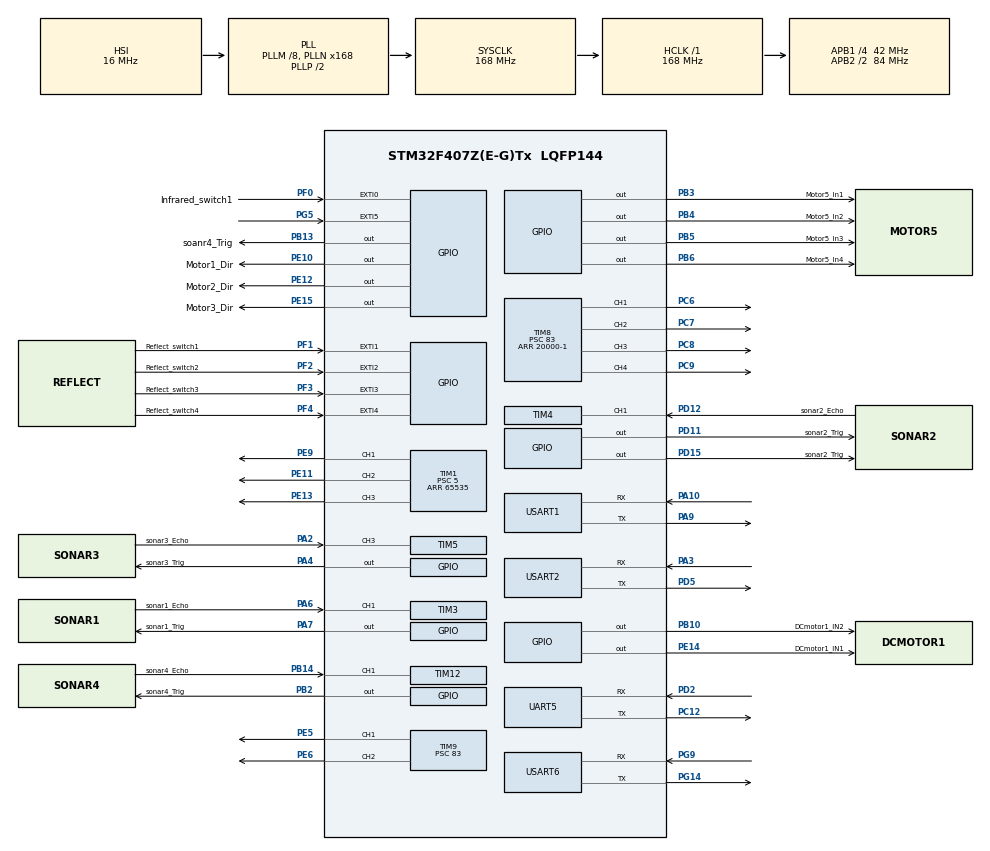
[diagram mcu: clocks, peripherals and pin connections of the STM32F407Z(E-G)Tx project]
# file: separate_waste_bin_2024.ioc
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Dma.Request0=USART6_RX
Dma.Request1=USART6_TX
Dma.Request2=UART5_RX
Dma.Request3=UART5_TX
Dma.Request4=USART1_RX
Dma.Request5=USART1_TX
Dma.Request6=USART2_RX
Dma.Request7=USART2_TX
Dma.UART5_RX.2.Direction=DMA_PERIPH_TO_MEMORY
Dma.UART5_RX.2.FIFOMode=DMA_FIFOMODE_DISABLE
Dma.UART5_RX.2.Instance=DMA1_Stream0
Dma.UART5_RX.2.MemDataAlignment=DMA_MDATAALIGN_BYTE
Dma.UART5_RX.2.MemInc=DMA_MINC_ENABLE
Dma.UART5_RX.2.Mode=DMA_CIRCULAR
Dma.UART5_RX.2.PeriphDataAlignment=DMA_PDATAALIGN_BYTE
Dma.UART5_RX.2.PeriphInc=DMA_PINC_DISABLE
Dma.UART5_RX.2.Priority=DMA_PRIORITY_LOW
Dma.UART5_TX.3.Direction=DMA_MEMORY_TO_PERIPH
Dma.UART5_TX.3.FIFOMode=DMA_FIFOMODE_DISABLE
Dma.UART5_TX.3.Instance=DMA1_Stream7
Dma.UART5_TX.3.MemDataAlignment=DMA_MDATAALIGN_BYTE
Dma.UART5_TX.3.MemInc=DMA_MINC_ENABLE
Dma.UART5_TX.3.Mode=DMA_NORMAL
Dma.UART5_TX.3.PeriphDataAlignment=DMA_PDATAALIGN_BYTE
Dma.UART5_TX.3.PeriphInc=DMA_PINC_DISABLE
Dma.UART5_TX.3.Priority=DMA_PRIORITY_LOW
Dma.USART1_RX.4.Direction=DMA_PERIPH_TO_MEMORY
Dma.USART1_RX.4.FIFOMode=DMA_FIFOMODE_DISABLE
Dma.USART1_RX.4.Instance=DMA2_Stream2
Dma.USART1_RX.4.MemDataAlignment=DMA_MDATAALIGN_BYTE
Dma.USART1_RX.4.MemInc=DMA_MINC_ENABLE
Dma.USART1_RX.4.Mode=DMA_CIRCULAR
Dma.USART1_RX.4.PeriphDataAlignment=DMA_PDATAALIGN_BYTE
Dma.USART1_RX.4.PeriphInc=DMA_PINC_DISABLE
Dma.USART1_RX.4.Priority=DMA_PRIORITY_LOW
Dma.USART1_TX.5.Direction=DMA_MEMORY_TO_PERIPH
Dma.USART1_TX.5.FIFOMode=DMA_FIFOMODE_DISABLE
Dma.USART1_TX.5.Instance=DMA2_Stream7
Dma.USART1_TX.5.MemDataAlignment=DMA_MDATAALIGN_BYTE
Dma.USART1_TX.5.MemInc=DMA_MINC_ENABLE
Dma.USART1_TX.5.Mode=DMA_NORMAL
Dma.USART1_TX.5.PeriphDataAlignment=DMA_PDATAALIGN_BYTE
Dma.USART1_TX.5.PeriphInc=DMA_PINC_DISABLE
Dma.USART1_TX.5.Priority=DMA_PRIORITY_LOW
Dma.USART2_RX.6.Direction=DMA_PERIPH_TO_MEMORY
Dma.USART2_RX.6.FIFOMode=DMA_FIFOMODE_DISABLE
Dma.USART2_RX.6.Instance=DMA1_Stream5
Dma.USART2_RX.6.MemDataAlignment=DMA_MDATAALIGN_BYTE
Dma.USART2_RX.6.MemInc=DMA_MINC_ENABLE
Dma.USART2_RX.6.Mode=DMA_CIRCULAR
Dma.USART2_RX.6.PeriphDataAlignment=DMA_PDATAALIGN_BYTE
Dma.USART2_RX.6.PeriphInc=DMA_PINC_DISABLE
Dma.USART2_RX.6.Priority=DMA_PRIORITY_LOW
Dma.USART2_TX.7.Direction=DMA_MEMORY_TO_PERIPH
Dma.USART2_TX.7.FIFOMode=DMA_FIFOMODE_DISABLE
Dma.USART2_TX.7.Instance=DMA1_Stream6
Dma.USART2_TX.7.MemDataAlignment=DMA_MDATAALIGN_BYTE
Dma.USART2_TX.7.MemInc=DMA_MINC_ENABLE
Dma.USART2_TX.7.Mode=DMA_NORMAL
Dma.USART2_TX.7.PeriphDataAlignment=DMA_PDATAALIGN_BYTE
Dma.USART2_TX.7.PeriphInc=DMA_PINC_DISABLE
Dma.USART2_TX.7.Priority=DMA_PRIORITY_LOW
Dma.USART6_RX.0.Direction=DMA_PERIPH_TO_MEMORY
Dma.USART6_RX.0.FIFOMode=DMA_FIFOMODE_DISABLE
Dma.USART6_RX.0.Instance=DMA2_Stream1
Dma.USART6_RX.0.MemDataAlignment=DMA_MDATAALIGN_BYTE
Dma.USART6_RX.0.MemInc=DMA_MINC_ENABLE
Dma.USART6_RX.0.Mode=DMA_CIRCULAR
Dma.USART6_RX.0.PeriphDataAlignment=DMA_PDATAALIGN_BYTE
Dma.USART6_RX.0.PeriphInc=DMA_PINC_DISABLE
Dma.USART6_RX.0.Priority=DMA_PRIORITY_LOW
Dma.USART6_TX.1.Direction=DMA_MEMORY_TO_PERIPH
Dma.USART6_TX.1.FIFOMode=DMA_FIFOMODE_DISABLE
Dma.USART6_TX.1.Instance=DMA2_Stream6
Dma.USART6_TX.1.MemDataAlignment=DMA_MDATAALIGN_BYTE
Dma.USART6_TX.1.MemInc=DMA_MINC_ENABLE
Dma.USART6_TX.1.Mode=DMA_NORMAL
Dma.USART6_TX.1.PeriphDataAlignment=DMA_PDATAALIGN_BYTE
Dma.USART6_TX.1.PeriphInc=DMA_PINC_DISABLE
Dma.USART6_TX.1.Priority=DMA_PRIORITY_LOW
FREERTOS.Tasks01=defaultTask,0,128,StartDefaultTask,Default,NULL,Dynamic,NULL,NULL
FREERTOS.configENABLE_FPU=1
FREERTOS.configMAX_PRIORITIES=15
FREERTOS.configUSE_RECURSIVE_MUTEXES=1
FREERTOS.configUSE_TIMERS=0
Mcu.Family=STM32F4
Mcu.Name=STM32F407Z(E-G)Tx
Mcu.Package=LQFP144
NVIC.DMA1_Stream0_IRQn=true\:5\:0\:false\:false\:true\:true\:false\:true\:true
NVIC.DMA1_Stream5_IRQn=true\:5\:0\:false\:false\:true\:true\:false\:true\:true
NVIC.DMA1_Stream6_IRQn=true\:5\:0\:false\:false\:true\:true\:false\:true\:true
NVIC.DMA1_Stream7_IRQn=true\:5\:0\:false\:false\:true\:true\:false\:true\:true
NVIC.DMA2_Stream1_IRQn=true\:5\:0\:false\:false\:true\:true\:false\:true\:true
NVIC.DMA2_Stream2_IRQn=true\:5\:0\:false\:false\:true\:true\:false\:true\:true
NVIC.DMA2_Stream6_IRQn=true\:5\:0\:false\:false\:true\:true\:false\:true\:true
NVIC.DMA2_Stream7_IRQn=true\:5\:0\:false\:false\:true\:true\:false\:true\:true
NVIC.EXTI0_IRQn=true\:5\:0\:false\:false\:true\:true\:true\:true\:true
NVIC.EXTI1_IRQn=true\:5\:0\:false\:false\:true\:true\:true\:true\:true
NVIC.EXTI2_IRQn=true\:5\:0\:false\:false\:true\:true\:true\:true\:true
NVIC.EXTI3_IRQn=true\:5\:0\:false\:false\:true\:true\:true\:true\:true
NVIC.EXTI4_IRQn=true\:5\:0\:false\:false\:true\:true\:true\:true\:true
NVIC.PriorityGroup=NVIC_PRIORITYGROUP_4
NVIC.TIM1_BRK_TIM9_IRQn=true\:5\:0\:false\:false\:true\:true\:true\:true\:true
NVIC.TIM1_CC_IRQn=true\:5\:0\:false\:false\:true\:true\:true\:true\:true
NVIC.TIM1_TRG_COM_TIM11_IRQn=true\:5\:0\:false\:false\:true\:true\:true\:true\:true
NVIC.TIM1_UP_TIM10_IRQn=true\:5\:0\:false\:false\:true\:true\:true\:true\:true
NVIC.TIM3_IRQn=true\:5\:0\:false\:false\:true\:true\:true\:true\:true
NVIC.TIM4_IRQn=true\:5\:0\:false\:false\:true\:true\:true\:true\:true
NVIC.TIM5_IRQn=true\:5\:0\:false\:false\:true\:true\:true\:true\:true
NVIC.TIM8_BRK_TIM12_IRQn=true\:5\:0\:false\:false\:true\:true\:true\:true\:true
NVIC.TIM8_TRG_COM_TIM14_IRQn=true\:15\:0\:false\:false\:true\:false\:false\:true\:true
NVIC.TimeBase=TIM8_TRG_COM_TIM14_IRQn
NVIC.TimeBaseIP=TIM14
NVIC.UART5_IRQn=true\:5\:0\:false\:false\:true\:true\:true\:true\:true
NVIC.USART1_IRQn=true\:5\:0\:false\:false\:true\:true\:true\:true\:true
NVIC.USART2_IRQn=true\:5\:0\:false\:false\:true\:true\:true\:true\:true
NVIC.USART6_IRQn=true\:5\:0\:false\:false\:true\:true\:true\:true\:true
PA10.Mode=Asynchronous
PA10.Signal=USART1_RX
PA13.Mode=Serial_Wire
PA13.Signal=SYS_JTMS-SWDIO
PA14.Mode=Serial_Wire
PA14.Signal=SYS_JTCK-SWCLK
PA2.GPIO_Label=sonar3_Echo
PA2.Signal=S_TIM5_CH3
PA3.Mode=Asynchronous
PA3.Signal=USART2_RX
PA4.GPIO_Label=sonar3_Trig
PA4.Signal=GPIO_Output
PA6.GPIO_Label=sonar1_Echo
PA6.Signal=S_TIM3_CH1
PA7.GPIO_Label=sonar1_Trig
PA7.Signal=GPIO_Output
PA9.Mode=Asynchronous
PA9.Signal=USART1_TX
PB10.GPIO_Label=DCmotor1_IN2
PB10.GPIO_Speed=GPIO_SPEED_FREQ_HIGH
PB10.PinState=GPIO_PIN_RESET
PB10.Signal=GPIO_Output
PB13.GPIO_Label=soanr4_Trig
PB13.Signal=GPIO_Output
PB14.GPIO_Label=sonar4_Echo
PB14.Signal=S_TIM12_CH1
PB2.GPIO_Label=sonar4_Trig
PB2.Signal=GPIO_Output
PB3.GPIO_Label=Motor5_In1
PB3.Signal=GPIO_Output
PB4.GPIO_Label=Motor5_In2
PB4.Signal=GPIO_Output
PB5.GPIO_Label=Motor5_In3
PB5.Signal=GPIO_Output
PB6.GPIO_Label=Motor5_In4
PB6.Signal=GPIO_Output
PC12.Mode=Asynchronous
PC12.Signal=UART5_TX
PC6.Signal=S_TIM8_CH1
PC7.Signal=S_TIM8_CH2
PC8.Signal=S_TIM8_CH3
PC9.Signal=S_TIM8_CH4
PD11.GPIO_Label=sonar2_Trig
PD11.Signal=GPIO_Output
PD12.GPIO_Label=sonar2_Echo
PD12.Signal=S_TIM4_CH1
PD15.GPIO_Label=sonar2_Trig
PD15.Signal=GPIO_Output
PD2.Mode=Asynchronous
PD2.Signal=UART5_RX
PD5.Mode=Asynchronous
PD5.Signal=USART2_TX
PE10.GPIO_Label=Motor1_Dir
PE10.PinState=GPIO_PIN_SET
PE10.Signal=GPIO_Output
PE11.GPIO_ModeDefaultPP=GPIO_MODE_AF_PP
PE11.GPIO_Speed=GPIO_SPEED_FREQ_HIGH
PE11.Signal=S_TIM1_CH2
PE12.GPIO_Label=Motor2_Dir
PE12.PinState=GPIO_PIN_SET
PE12.Signal=GPIO_Output
PE13.Signal=S_TIM1_CH3
PE14.GPIO_Label=DCmotor1_IN1
PE14.GPIO_Speed=GPIO_SPEED_FREQ_HIGH
PE14.Signal=GPIO_Output
PE15.GPIO_Label=Motor3_Dir
PE15.PinState=GPIO_PIN_SET
PE15.Signal=GPIO_Output
PE5.Signal=S_TIM9_CH1
PE6.Signal=S_TIM9_CH2
PE9.GPIO_ModeDefaultPP=GPIO_MODE_AF_PP
PE9.GPIO_Speed=GPIO_SPEED_FREQ_HIGH
PE9.Signal=S_TIM1_CH1
PF0.GPIO_Label=Infrared_switch1
PF0.GPIO_ModeDefaultEXTI=GPIO_MODE_IT_RISING_FALLING
PF0.GPIO_PuPd=GPIO_NOPULL
PF0.Signal=GPXTI0
PF1.GPIO_Label=Reflect_switch1
PF1.GPIO_ModeDefaultEXTI=GPIO_MODE_IT_RISING_FALLING
PF1.GPIO_PuPd=GPIO_NOPULL
PF1.Signal=GPXTI1
PF2.GPIO_Label=Reflect_switch2
PF2.GPIO_ModeDefaultEXTI=GPIO_MODE_IT_RISING_FALLING
PF2.Signal=GPXTI2
PF3.GPIO_Label=Reflect_switch3
PF3.GPIO_ModeDefaultEXTI=GPIO_MODE_IT_RISING_FALLING
PF3.Signal=GPXTI3
PF4.GPIO_Label=Reflect_switch4
PF4.GPIO_ModeDefaultEXTI=GPIO_MODE_IT_RISING_FALLING
PF4.Signal=GPXTI4
PG14.Mode=Asynchronous
PG14.Signal=USART6_TX
PG5.Signal=GPXTI5
PG9.Mode=Asynchronous
PG9.Signal=USART6_RX
PH0-OSC_IN.Mode=HSE-External-Oscillator
PH0-OSC_IN.Signal=RCC_OSC_IN
PH1-OSC_OUT.Mode=HSE-External-Oscillator
PH1-OSC_OUT.Signal=RCC_OSC_OUT
ProjectManager.HeapSize=0x200
ProjectManager.StackSize=0x400
ProjectManager.TargetToolchain=MDK-ARM V5.32
RCC.48MHZClocksFreq_Value=84000000
RCC.AHBFreq_Value=168000000
RCC.APB1CLKDivider=RCC_HCLK_DIV4
RCC.APB1Freq_Value=42000000
RCC.APB1TimFreq_Value=84000000
RCC.APB2CLKDivider=RCC_HCLK_DIV2
RCC.APB2Freq_Value=84000000
RCC.APB2TimFreq_Value=168000000
RCC.CortexFreq_Value=168000000
RCC.HCLKFreq_Value=168000000
RCC.HSE_VALUE=25000000
RCC.HSI_VALUE=16000000
RCC.LSE_VALUE=32768
RCC.PLLM=8
RCC.PLLN=168
RCC.SYSCLKFreq_VALUE=168000000
RCC.SYSCLKSource=RCC_SYSCLKSOURCE_PLLCLK
RCC.VCOOutputFreq_Value=336000000
SH.S_TIM12_CH1.0=TIM12_CH1,Input_Capture1_from_TI1
SH.S_TIM1_CH1.0=TIM1_CH1,Output Compare1 CH1
SH.S_TIM1_CH2.0=TIM1_CH2,PWM Generation2 CH2
SH.S_TIM1_CH3.0=TIM1_CH3,Output Compare3 CH3
SH.S_TIM3_CH1.0=TIM3_CH1,Input_Capture1_from_TI1
SH.S_TIM4_CH1.0=TIM4_CH1,Input_Capture1_from_TI1
SH.S_TIM5_CH3.0=TIM5_CH3,Input_Capture3_from_TI3
SH.S_TIM8_CH1.0=TIM8_CH1,PWM Generation1 CH1
SH.S_TIM8_CH2.0=TIM8_CH2,PWM Generation2 CH2
SH.S_TIM8_CH3.0=TIM8_CH3,PWM Generation3 CH3
SH.S_TIM8_CH4.0=TIM8_CH4,PWM Generation4 CH4
SH.S_TIM9_CH1.0=TIM9_CH1,PWM Generation1 CH1
SH.S_TIM9_CH2.0=TIM9_CH2,PWM Generation2 CH2
TIM1.AutoReloadPreload=TIM_AUTORELOAD_PRELOAD_ENABLE
TIM1.Channel-Output\ Compare1\ CH1=TIM_CHANNEL_1
TIM1.Channel-Output\ Compare3\ CH3=TIM_CHANNEL_3
TIM1.Channel-PWM\ Generation2\ CH2=TIM_CHANNEL_2
TIM1.OC1Preload=ENABLE
TIM1.OC3Preload=ENABLE
TIM1.OCMode_1=TIM_OCMODE_TOGGLE
TIM1.OCMode_3=TIM_OCMODE_TOGGLE
TIM1.Period=65535
TIM1.Prescaler=5
TIM1.Pulse-Output\ Compare1\ CH1=500
TIM1.Pulse-Output\ Compare3\ CH3=500
TIM1.Pulse-PWM\ Generation2\ CH2=2500
TIM12.AutoReloadPreload=TIM_AUTORELOAD_PRELOAD_ENABLE
TIM12.Channel-Input_Capture1_from_TI1=TIM_CHANNEL_1
TIM12.Channel-Input_Capture2_from_TI1_63=TIM_CHANNEL_2
TIM12.ICPolarity_CH2=TIM_INPUTCHANNELPOLARITY_FALLING
TIM12.Prescaler=41
TIM3.AutoReloadPreload=TIM_AUTORELOAD_PRELOAD_ENABLE
TIM3.Channel-Input_Capture1_from_TI1=TIM_CHANNEL_1
TIM3.Channel-Input_Capture2_from_TI1_63=TIM_CHANNEL_2
TIM3.ICPolarity_CH2=TIM_INPUTCHANNELPOLARITY_FALLING
TIM3.Prescaler=41
TIM4.AutoReloadPreload=TIM_AUTORELOAD_PRELOAD_ENABLE
TIM4.Channel-Input_Capture1_from_TI1=TIM_CHANNEL_1
TIM4.Channel-Input_Capture2_from_TI1_63=TIM_CHANNEL_2
TIM4.ICPolarity_CH2=TIM_INPUTCHANNELPOLARITY_FALLING
TIM4.Prescaler=41
TIM5.AutoReloadPreload=TIM_AUTORELOAD_PRELOAD_ENABLE
TIM5.Channel-Input_Capture3_from_TI3=TIM_CHANNEL_3
TIM5.Channel-Input_Capture4_from_TI3_63=TIM_CHANNEL_4
TIM5.ICPolarity_CH4=TIM_INPUTCHANNELPOLARITY_FALLING
TIM5.Prescaler=41
TIM8.AutoReloadPreload=TIM_AUTORELOAD_PRELOAD_ENABLE
TIM8.Channel-PWM\ Generation1\ CH1=TIM_CHANNEL_1
TIM8.Channel-PWM\ Generation2\ CH2=TIM_CHANNEL_2
TIM8.Channel-PWM\ Generation3\ CH3=TIM_CHANNEL_3
TIM8.Channel-PWM\ Generation4\ CH4=TIM_CHANNEL_4
TIM8.Period=20000-1
TIM8.Prescaler=83
TIM9.Channel-PWM\ Generation1\ CH1=TIM_CHANNEL_1
TIM9.Channel-PWM\ Generation2\ CH2=TIM_CHANNEL_2
TIM9.Period=20000-1
TIM9.Prescaler=83
UART5.VirtualMode=Asynchronous
USART1.VirtualMode=VM_ASYNC
USART2.VirtualMode=VM_ASYNC
USART6.VirtualMode=VM_ASYNC
VP_FREERTOS_VS_CMSIS_V1.Mode=CMSIS_V1
VP_RTC_VS_RTC_Activate.Mode=RTC_Enabled
VP_SYS_VS_tim14.Mode=TIM14
VP_TIM12_VS_ClockSourceINT.Mode=Internal
VP_TIM12_VS_indirect_ch1.Mode=Input_Capture2_from_TI1_63
VP_TIM1_VS_ClockSourceINT.Mode=Internal
VP_TIM3_VS_indirect_ch1.Mode=Input_Capture2_from_TI1_63
VP_TIM4_VS_indirect_ch1.Mode=Input_Capture2_from_TI1_63
VP_TIM5_VS_indirect_ch3.Mode=Input_Capture4_from_TI3_63
VP_TIM7_VS_ClockSourceINT.Mode=Enable_Timer
VP_TIM8_VS_ClockSourceINT.Mode=Internal
VP_TIM9_VS_ClockSourceINT.Mode=Internal
board=custom

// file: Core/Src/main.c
/* USER CODE BEGIN Header */
/**
  ******************************************************************************
  * @file           : main.c
  * @brief          : Main program body
  ******************************************************************************
  * @attention
  *
  * Copyright (c) 2024 STMicroelectronics.
  * All rights reserved.
  *
  * This software is licensed under terms that can be found in the LICENSE file
  * in the root directory of this software component.
  * If no LICENSE file comes with this software, it is provided AS-IS.
  *
  ******************************************************************************
  */
/* USER CODE END Header */
#include "main.h"
#include "cmsis_os.h"
#include "dma.h"
#include "rtc.h"
#include "tim.h"
#include "usart.h"
#include "gpio.h"

/* USER CODE BEGIN Includes */
#include "freeRTOS.h"
#include "app_stepper_motor.h"
#include "app_servo_motor.h"
#include "app_sonar.h"
#include "app_OPTO_switch.h"
#include "app_visual_identity.h"
#include "UART_DMA.h"
/* USER CODE END Includes */

void SystemClock_Config(void);
void MX_FREERTOS_Init(void);

int main(void)
{

  /* MCU Configuration--------------------------------------------------------*/

  /* Reset of all peripherals, Initializes the Flash interface and the Systick. */
  HAL_Init();

  /* Configure the system clock */
  SystemClock_Config();

  /* Initialize all configured peripherals */
  MX_GPIO_Init();
  MX_DMA_Init();
  MX_RTC_Init();
  MX_TIM1_Init();
  MX_TIM8_Init();
  MX_TIM3_Init();
  MX_TIM4_Init();
  MX_USART1_UART_Init();
  MX_TIM5_Init();
  MX_TIM12_Init();
  MX_USART6_UART_Init();
  MX_TIM7_Init();
  MX_UART5_Init();
  MX_USART2_UART_Init();
  MX_TIM9_Init();
  /* USER CODE BEGIN 2 */

  StartUartRxDMA(&USB_Huart_2);

  App_Servo_Init();//舵机初始�???
  App_Sonar_Init();//超声波测距初始化
  App_StepperMotors_Init();//步进步进电机初始�???
  App_Visual_Identity_Init();
  /* USER CODE END 2 */

  /* Call init function for freertos objects (in cmsis_os2.c) */
  MX_FREERTOS_Init();

  /* Start scheduler */
  osKernelStart();

  /* We should never get here as control is now taken by the scheduler */

  /* Infinite loop */
  while (1)
  {

  }
}

void SystemClock_Config(void)
{
  RCC_OscInitTypeDef RCC_OscInitStruct = {0};
  RCC_ClkInitTypeDef RCC_ClkInitStruct = {0};

  /** Configure the main internal regulator output voltage
  */
  __HAL_RCC_PWR_CLK_ENABLE();
  __HAL_PWR_VOLTAGESCALING_CONFIG(PWR_REGULATOR_VOLTAGE_SCALE1);

  /** Initializes the RCC Oscillators according to the specified parameters
  * in the RCC_OscInitTypeDef structure.
  */
  RCC_OscInitStruct.OscillatorType = RCC_OSCILLATORTYPE_HSI|RCC_OSCILLATORTYPE_LSI;
  RCC_OscInitStruct.HSIState = RCC_HSI_ON;
  RCC_OscInitStruct.HSICalibrationValue = RCC_HSICALIBRATION_DEFAULT;
  RCC_OscInitStruct.LSIState = RCC_LSI_ON;
  RCC_OscInitStruct.PLL.PLLState = RCC_PLL_ON;
  RCC_OscInitStruct.PLL.PLLSource = RCC_PLLSOURCE_HSI;
  RCC_OscInitStruct.PLL.PLLM = 8;
  RCC_OscInitStruct.PLL.PLLN = 168;
  RCC_OscInitStruct.PLL.PLLP = RCC_PLLP_DIV2;
  RCC_OscInitStruct.PLL.PLLQ = 4;
  if (HAL_RCC_OscConfig(&RCC_OscInitStruct) != HAL_OK)
  {
    Error_Handler();
  }

  /** Initializes the CPU, AHB and APB buses clocks
  */
  RCC_ClkInitStruct.ClockType = RCC_CLOCKTYPE_HCLK|RCC_CLOCKTYPE_SYSCLK
                              |RCC_CLOCKTYPE_PCLK1|RCC_CLOCKTYPE_PCLK2;
  RCC_ClkInitStruct.SYSCLKSource = RCC_SYSCLKSOURCE_PLLCLK;
  RCC_ClkInitStruct.AHBCLKDivider = RCC_SYSCLK_DIV1;
  RCC_ClkInitStruct.APB1CLKDivider = RCC_HCLK_DIV4;
  RCC_ClkInitStruct.APB2CLKDivider = RCC_HCLK_DIV2;

  if (HAL_RCC_ClockConfig(&RCC_ClkInitStruct, FLASH_LATENCY_5) != HAL_OK)
  {
    Error_Handler();
  }
}

void HAL_TIM_PeriodElapsedCallback(TIM_HandleTypeDef *htim)
{
  if (htim->Instance == TIM14) {
    HAL_IncTick();
  }
}

void Error_Handler(void)
{
  __disable_irq();
  while (1)
  {
  }
}

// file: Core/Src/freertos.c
/* USER CODE BEGIN Header */
/**
  ******************************************************************************
  * File Name          : freertos.c
  * Description        : Code for freertos applications
  ******************************************************************************
  * @attention
  *
  * Copyright (c) 2024 STMicroelectronics.
  * All rights reserved.
  *
  * This software is licensed under terms that can be found in the LICENSE file
  * in the root directory of this software component.
  * If no LICENSE file comes with this software, it is provided AS-IS.
  *
  ******************************************************************************
  */
/* USER CODE END Header */

#include "FreeRTOS.h"
#include "task.h"
#include "main.h"
#include "cmsis_os.h"

/* USER CODE BEGIN Includes */
#include <stdio.h>
#include <string.h>
#include "event_groups.h"
#include "queue.h"
#include "usart.h"
#include "app_stepper_motor.h"
#include "app_servo_motor.h"
#include "app_sonar.h"
#include "app_OPTO_switch.h"
#include "app_visual_identity.h"
#include "DCmotor.h"
#include "..\..\Drivers\CMSIS\RTOS\Template\cmsis_os.h"
/* USER CODE END Includes */

/* USER CODE BEGIN Variables */
xTaskHandle SensorTaskHandle;
xTaskHandle ControlTaskHandle;
xTaskHandle ServoControlTaskHandle;
xTaskHandle StepMotorTaskHandle;
xTaskHandle DCMotorTaskHandle;
extern DCMotor_HandleTypeDef DCmotor1;
/* USER CODE END Variables */
osThreadId defaultTaskHandle;

/* USER CODE BEGIN FunctionPrototypes */

void StartSensorTask(void* argument);
void StartControlTask(void* argument);
void DCMotorControlTask(void const * argument);

/* USER CODE END FunctionPrototypes */

void StartDefaultTask(void const * argument);

void MX_FREERTOS_Init(void); /* (MISRA C 2004 rule 8.1) */

/* GetIdleTaskMemory prototype (linked to static allocation support) */
void vApplicationGetIdleTaskMemory( StaticTask_t **ppxIdleTaskTCBBuffer, StackType_t **ppxIdleTaskStackBuffer, uint32_t *pulIdleTaskStackSize );

/* USER CODE BEGIN GET_IDLE_TASK_MEMORY */
static StaticTask_t xIdleTaskTCBBuffer;
static StackType_t xIdleStack[configMINIMAL_STACK_SIZE];

void vApplicationGetIdleTaskMemory( StaticTask_t **ppxIdleTaskTCBBuffer, StackType_t **ppxIdleTaskStackBuffer, uint32_t *pulIdleTaskStackSize )
{
  *ppxIdleTaskTCBBuffer = &xIdleTaskTCBBuffer;
  *ppxIdleTaskStackBuffer = &xIdleStack[0];
  *pulIdleTaskStackSize = configMINIMAL_STACK_SIZE;
  /* place for user code */
}
/* USER CODE END GET_IDLE_TASK_MEMORY */

void MX_FREERTOS_Init(void) {

  /* Create the thread(s) */
  /* definition and creation of defaultTask */
  osThreadDef(defaultTask, StartDefaultTask, osPriorityNormal, 0, 128);
  defaultTaskHandle = osThreadCreate(osThread(defaultTask), NULL);

}

void StartDefaultTask(void const * argument)
{
  /* USER CODE BEGIN StartDefaultTask */
  BaseType_t xReturn = pdPASS;
  printf("DefaultTask Start\r\n");

  taskENTER_CRITICAL(); // 进入临界�???????

  // 创建任务
  xReturn = xTaskCreate(StartSensorTask,
                        "Start_Sensor_Task",
                        128,
                        NULL,
                        10,
                        &SensorTaskHandle);
  if (xReturn == pdPASS)
    printf("Start_Sensor_Task任务创建成功\r\n");

  xReturn = xTaskCreate(StartControlTask,
                        "Start_Control_Task",
                        128,
                        NULL,
                        10,
                        &ControlTaskHandle);
  if (xReturn == pdPASS)
    printf("Start_Control_Task任务创建成功\r\n");

  vTaskDelete(defaultTaskHandle); // 删除�???????始任�???????
  taskEXIT_CRITICAL();            // �???????出临界区
  /* Infinite loop */
  for(;;)
  {
    osDelay(1);
  }
  /* USER CODE END StartDefaultTask */
}

/* USER CODE BEGIN Application */

//传感器任务进程�?��?�创�???????
void StartSensorTask(void* argument)
{
    BaseType_t xReturn = pdPASS;
    printf("SensorTask Start\r\n");

    taskENTER_CRITICAL(); // 进入临界�???????
    xReturn = xTaskCreate(SonarReadTask,
                        "Sonar_Read_Task",
                        256,
                        NULL,
                        5,
                        NULL);
  if (xReturn == pdPASS)
    printf("Sonar_Read_Task任务创建成功\r\n");

    xReturn = xTaskCreate(OPTOswitchReadTask,
                        "OPTOswitch_Read_Task",
                        256,
                        NULL,
                        5,
                        NULL);
  if (xReturn == pdPASS)
    printf("OPTOswitch_Read_Task任务创建成功\r\n");

  xReturn = xTaskCreate(VisualIdentityReadTask,
                        "VisualIdentity_Read_Task",
                        256,
                        NULL,
                        5,
                        NULL);
  if (xReturn == pdPASS)
    printf("VisualIdentity_Read_Task任务创建成功\r\n");

  vTaskDelete(NULL); // 删除�???????始任�???????
  taskEXIT_CRITICAL();            // �???????出临界区
}

//控制任务进程—�?�创�???????
void StartControlTask(void* argument)
{
    BaseType_t xReturn = pdPASS;
    printf("ControlTask Start\r\n");

    taskENTER_CRITICAL(); // 进入临界�???????
    xReturn = xTaskCreate(ServoControlTask,
                        "Servo_Control_Task",
                        256,
                        NULL,
                        7,
                        &ServoControlTaskHandle);
    if (xReturn == pdPASS)
      printf("Servo_Control_Task任务创建成功\r\n");

    xReturn = xTaskCreate(StepMotorControlTask,
                          "StepMotor_Control_Task",
                          256,
                          NULL,
                          6,
                          &StepMotorTaskHandle);
    if (xReturn == pdPASS)
      printf("StepMotor_Control_Task任务创建成功\r\n");

    xReturn = xTaskCreate(DCMotorControlTask,
                          "DCMotor_Control_Task",
                          256,
                          NULL,
                          6,
                          &DCMotorTaskHandle);
    if (xReturn == pdPASS)
      printf("DCMotor_Control_Task任务创建成功\r\n");

    vTaskDelete(NULL); // 删除�???????始任�???????
    taskEXIT_CRITICAL();// �???????出临界区
}

void DCMotorControlTask(void const * argument)
{
  APP_DCmotor_Start(&DCmotor1,DCMOTOR_DIR_L);
  while (1)
  {
    ulTaskNotifyTake(pdTRUE,portMAX_DELAY);
    App_DCmotor_Proc();
  }
}

// void DiffuseReadTask(void const * argument)
// {
//   App_Diffuse_Test();
// }

/* USER CODE END Application */
